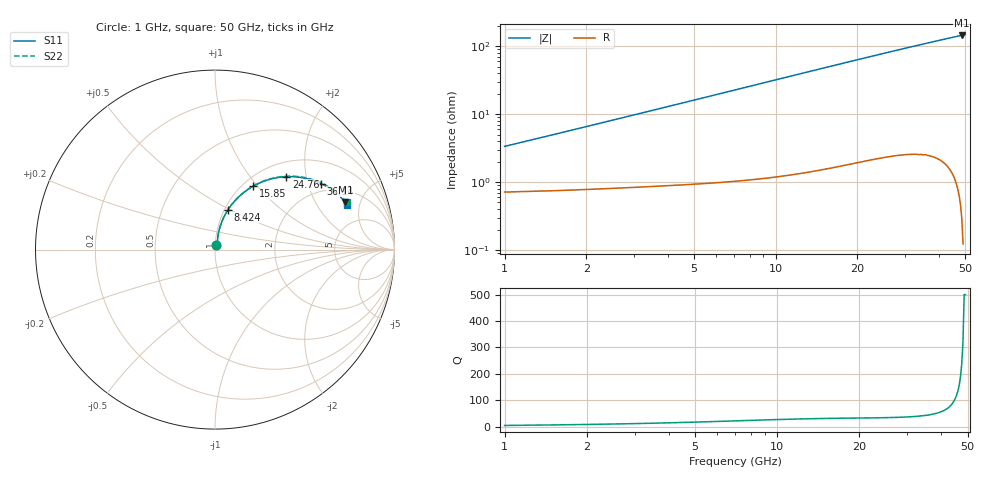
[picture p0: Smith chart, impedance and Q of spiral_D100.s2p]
! rapidmom parametric dataset (SG13G2 open stack, IHP)
! device = spiral
! family = spiral_N2
! stack = IHP SG13G2 (open PDK)
! Dout_um = 100
! width_um = 10
! spacing_um = 3
! sides = 8
! n_ports = 2
! n_dof = 4608
! cell_um = 2.5
! sweep = ROM (rational fit from adaptive anchor solves)
! rom_converged = True
! f_points = 100
! f_min_hz = 1.000e+09
! f_max_hz = 5.000e+10
! tool = rapidmom (2.5D MoM, A-EFIE)
! N = 2
# HZ S RI R 50
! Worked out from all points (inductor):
!   100 points, 1 GHz to 50 GHz, reference 50 ohm
!   read as one part in series: L = 519 pH near 1 GHz
!   highest Q = 502 at 48.52 GHz (marker M1), where L = 475 pH
!   S11 on the Smith chart (normalised r, x): 1 GHz: 1.01, +0.06; 8.424 GHz: 1.04, +0.49; 15.85 GHz: 1.11, +0.95; 24.76 GHz: 1.28, +1.54; 36.14 GHz: 1.71, +2.44; 50 GHz: 3.01, +3.81
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1e9  0.00701 0.0279  0.9908 -0.0365  0.9908 -0.0365  0.00702 0.0279
1.494949e9  0.0134 0.0397  0.994 -0.0562  0.994 -0.0562  0.0135 0.0396
1.989899e9  0.0141 0.0532  0.9905 -0.0737  0.9905 -0.0737  0.0141 0.0532
2.484848e9  0.0153 0.0671  0.9867 -0.0905  0.9867 -0.0905  0.0153 0.067
2.979798e9  0.0172 0.0811  0.9826 -0.1069  0.9826 -0.1069  0.0171 0.081
3.474747e9  0.0198 0.095  0.9784 -0.123  0.9784 -0.123  0.0197 0.095
4.464646e9  0.0267 0.1225  0.969 -0.1544  0.969 -0.1544  0.0265 0.1226
5.454545e9  0.0357 0.1493  0.9584 -0.1851  0.9584 -0.1851  0.0355 0.1494
6.939394e9  0.0528 0.1875  0.9398 -0.2294  0.9398 -0.2294  0.0525 0.1876
8.424242e9  0.0735 0.223  0.9183 -0.2713  0.9183 -0.2713  0.0731 0.2232
9.414141e9  0.0893 0.246  0.9024 -0.2973  0.9024 -0.2973  0.0886 0.2461
1.238384e10  0.1421 0.3026  0.8485 -0.3695  0.8485 -0.3695  0.1412 0.303
1.584848e10  0.2121 0.3527  0.7777 -0.4374  0.7777 -0.4374  0.2107 0.3536
1.782828e10  0.2539 0.3734  0.7352 -0.4687  0.7352 -0.4687  0.2521 0.3745
2.129293e10  0.3271 0.3968  0.6604 -0.5114  0.6604 -0.5114  0.3248 0.3986
2.475758e10  0.3977 0.4061  0.5872 -0.5408  0.5872 -0.5408  0.3948 0.4086
2.574747e10  0.4171 0.4065  0.5669 -0.5471  0.5669 -0.5471  0.414 0.4093
3.366667e10  0.5552 0.3824  0.4172 -0.5721  0.4172 -0.5721  0.5509 0.388
3.614141e10  0.5917 0.3673  0.3756 -0.5727  0.3756 -0.5727  0.5871 0.3739
4.208081e10  0.6659 0.3218  0.2846 -0.565  0.2846 -0.565  0.6614 0.3314
4.851515e10  0.7267 0.2633  0.1995 -0.5455  0.1996 -0.5455  0.7229 0.2764
5e10  0.7379 0.2491  0.1817 -0.5399  0.1817 -0.5399  0.7345 0.263
